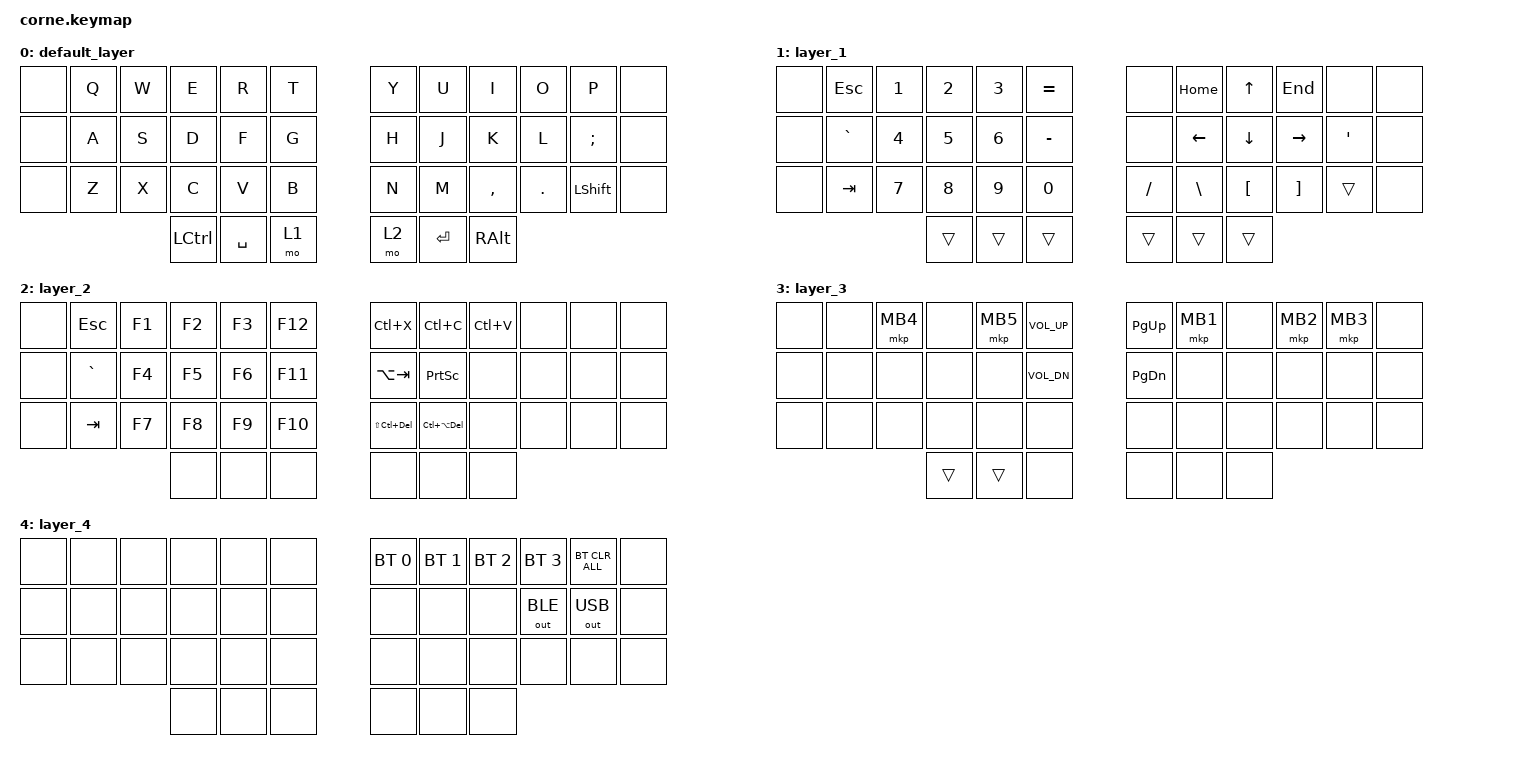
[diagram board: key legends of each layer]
/*
 * Copyright (c) 2020 The ZMK Contributors
 *
 * SPDX-License-Identifier: MIT
 */

#include <behaviors.dtsi>
#include <dt-bindings/zmk/keys.h>
#include <dt-bindings/zmk/bt.h>

/ {
    combos {
        compatible = "zmk,combos";

        double_func {
            bindings = <&kp LEFT_ALT>;
            key-positions = <38 37>;
        };

        caps {
            bindings = <&kp LEFT_SHIFT>;
            key-positions = <37 40>;
        };

        windowkey {
            bindings = <&kp CAPSLOCK>;
            key-positions = <36 37>;
        };

        for_mouse {
            bindings = <&mo 3>;
            key-positions = <29 37>;
        };

        backspace {
            bindings = <&kp BACKSPACE>;
            key-positions = <9 10>;
        };

        delete {
            bindings = <&kp DELETE>;
            key-positions = <8 9>;
        };

        wiondow {
            bindings = <&kp LWIN>;
            key-positions = <25 26 27>;
        };

        lclr {
            bindings = <&kp LC(LEFT_ALT)>;
            key-positions = <26 27 28>;
        };

        bt {
            bindings = <&mo 4>;
            key-positions = <40 30>;
        };
    };

    keymap {
        compatible = "zmk,keymap";

        default_layer {
            // -----------------------------------------------------------------------------------------
            // |  TAB |  Q  |  W  |  E  |  R  |  T  |   |  Y  |  U   |  I  |  O  |  P  | BKSP |
            // | CTRL |  A  |  S  |  D  |  F  |  G  |   |  H  |  J   |  K  |  L  |  ;  |  '   |
            // | SHFT |  Z  |  X  |  C  |  V  |  B  |   |  N  |  M   |  ,  |  .  |  /  | ESC  |
            //                    | GUI | LWR | SPC |   | ENT | RSE  | ALT |

            bindings = <
&none  &kp Q  &kp W  &kp E      &kp R      &kp T    &kp Y  &kp U      &kp I          &kp O    &kp P       &none
&none  &kp A  &kp S  &kp D      &kp F      &kp G    &kp H  &kp J      &kp K          &kp L    &kp SEMI    &none
&none  &kp Z  &kp X  &kp C      &kp V      &kp B    &kp N  &kp M      &kp COMMA      &kp DOT  &kp LSHIFT  &none
                     &kp LCTRL  &kp SPACE  &mo 1    &mo 2  &kp ENTER  &kp RIGHT_ALT
            >;
        };

        layer_1 {
            bindings = <
&none  &kp ESC    &kp N1  &kp N2  &kp N3  &kp EQUAL    &none      &kp HOME        &kp UP_ARROW      &kp END            &none    &none
&none  &kp GRAVE  &kp N4  &kp N5  &kp N6  &kp MINUS    &none      &kp LEFT_ARROW  &kp DOWN_ARROW    &kp RIGHT_ARROW    &kp SQT  &none
&none  &kp TAB    &kp N7  &kp N8  &kp N9  &kp N0       &kp SLASH  &kp BACKSLASH   &kp LEFT_BRACKET  &kp RIGHT_BRACKET  &trans   &none
                          &trans  &trans  &trans       &trans     &trans          &trans
            >;
        };

        layer_2 {
            bindings = <
&none  &kp ESC    &kp F1  &kp F2  &kp F3  &kp F12    &kp LC(X)           &kp LC(C)           &kp LC(V)  &none  &none  &none
&none  &kp GRAVE  &kp F4  &kp F5  &kp F6  &kp F11    &kp LA(TAB)         &kp PRINTSCREEN     &none      &none  &none  &none
&none  &kp TAB    &kp F7  &kp F8  &kp F9  &kp F10    &kp LS(LC(DELETE))  &kp LC(LA(DELETE))  &none      &none  &none  &none
                          &none   &none   &none      &none               &none               &none
            >;
        };

        layer_3 {
            bindings = <
&none      &none      &mkp MB4       &none      &mkp MB5    &kp C_VOLUME_UP       &kp PAGE_UP      &mkp MB1   &none    &mkp MB2    &mkp MB3      &none
&none      &none      &none         &none      &none      &kp C_VOL_DN          &kp PAGE_DOWN    &none     &none    &none      &none         &none
&none      &none      &none         &none       &none       &none                 &none            &none      &none     &none       &none         &none
                                         &trans      &trans           &none                  &none      &none      &none
            >;
        };

        layer_4 {
            bindings = <
&none  &none  &none  &none  &none  &none    &bt BT_SEL 0  &bt BT_SEL 1  &bt BT_SEL 2  &bt BT_SEL 3  &bt BT_CLR_ALL  &none
&none  &none  &none  &none  &none  &none    &none         &none         &none         &out OUT_BLE  &out OUT_USB    &none
&none  &none  &none  &none  &none  &none    &none         &none         &none         &none         &none           &none
                     &none  &none  &none    &none         &none         &none
            >;
        };
    };
};
